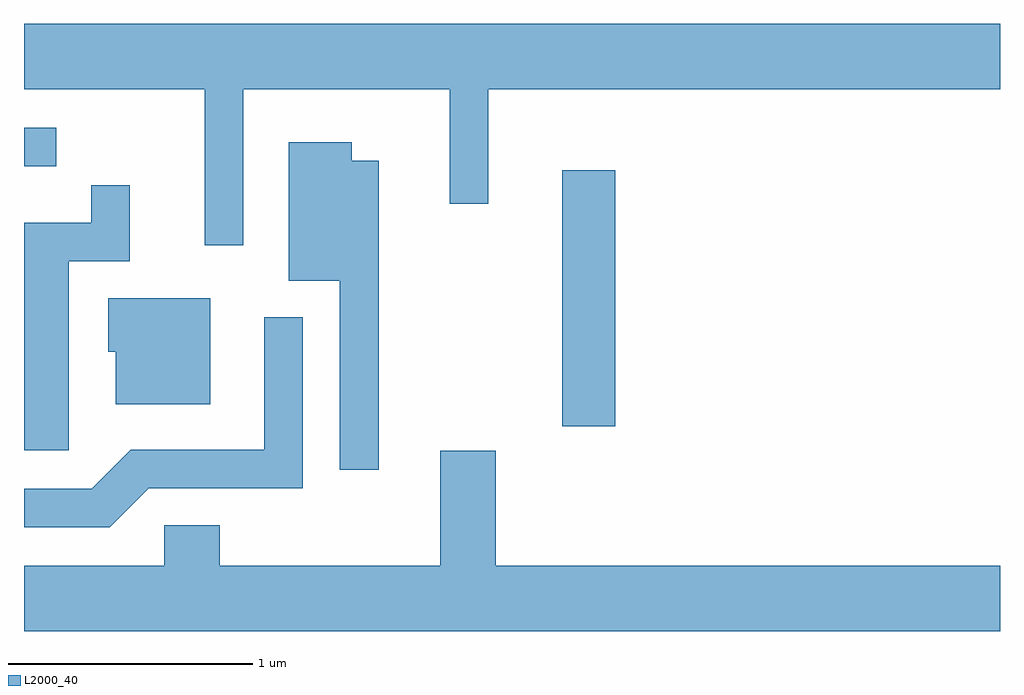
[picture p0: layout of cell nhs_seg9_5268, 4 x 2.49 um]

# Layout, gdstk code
import gdstk
lib = gdstk.Library(unit=1e-6, precision=1e-09)
def R(c, l, rs):  # rectangles x0, y0, x1, y1
    for r in rs: c.add(gdstk.rectangle(r[:2], r[2:], *l))
def P(c, l, *ps):  # polygons
    for p in ps: c.add(gdstk.Polygon(p, *l))
L2000_40 = (2000, 40)

nhs_seg9_5268 = lib.new_cell('nhs_seg9_5268')
R(nhs_seg9_5268, L2000_40, [(341.816,2061.476,342.034,2062.524), (339.611,2062.541,339.743,2062.699)])
P(nhs_seg9_5268, L2000_40, [(340.509,2062.856),(341.356,2062.856),(341.356,2062.387),(341.514,2062.387),(341.514,2062.856),(343.611,2062.856),(343.611,2063.124),(339.611,2063.124),(339.611,2062.856),(340.351,2062.856),(340.351,2062.218),(340.509,2062.218)],
  [(341.064,2062.564),(340.954,2062.564),(340.954,2062.639),(340.696,2062.639),(340.696,2062.071),(340.906,2062.071),(340.906,2061.298),(341.064,2061.298)],
  [(339.794,2062.151),(340.044,2062.151),(340.044,2062.463),(339.886,2062.463),(339.886,2062.309),(339.611,2062.309),(339.611,2061.376),(339.794,2061.376)],
  [(340.374,2061.999),(339.956,2061.999),(339.956,2061.781),(339.986,2061.781),(339.986,2061.566),(340.374,2061.566)],
  [(340.122,2061.221),(340.754,2061.221),(340.754,2061.923),(340.596,2061.923),(340.596,2061.379),(340.049,2061.379),(339.889,2061.219),(339.611,2061.219),(339.611,2061.061),(339.962,2061.061)],
  [(340.186,2061.069),(340.186,2060.904),(339.611,2060.904),(339.611,2060.636),(343.611,2060.636),(343.611,2060.904),(341.544,2060.904),(341.544,2061.374),(341.316,2061.374),(341.316,2060.904),(340.414,2060.904),(340.414,2061.069)])

lib.write_gds('nhs_seg9_5268.gds')
